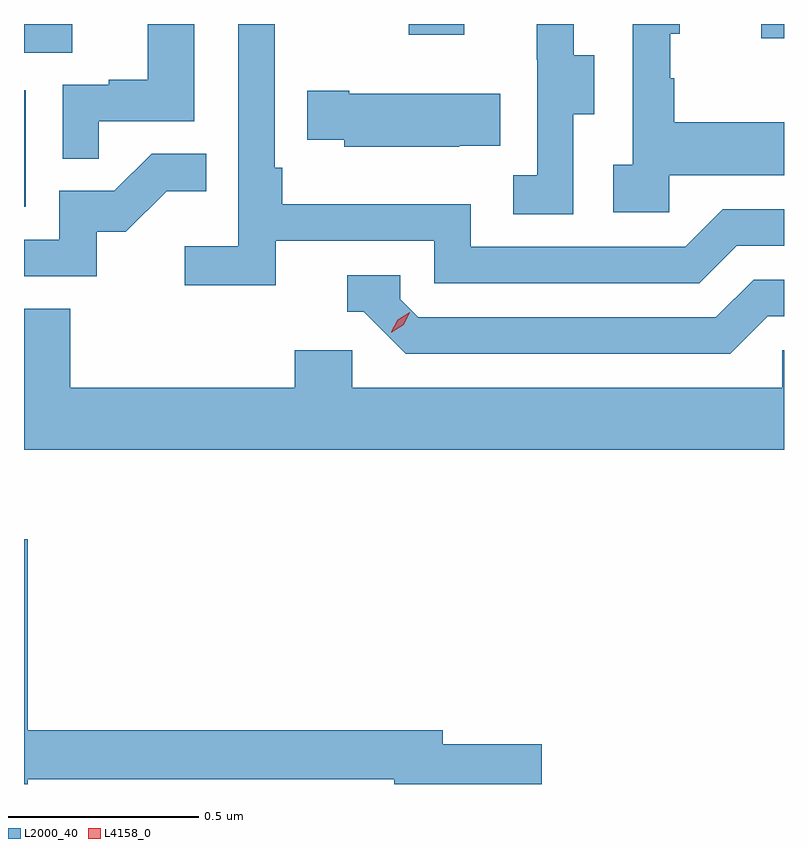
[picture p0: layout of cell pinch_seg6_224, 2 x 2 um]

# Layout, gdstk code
import gdstk
lib = gdstk.Library(unit=1e-6, precision=1e-09)
def R(c, l, rs):  # rectangles x0, y0, x1, y1
    for r in rs: c.add(gdstk.rectangle(r[:2], r[2:], *l))
def P(c, l, *ps):  # polygons
    for p in ps: c.add(gdstk.Polygon(p, *l))
L2000_40 = (2000, 40)
L4158_0 = (4158, 0)

pinch_seg6_224 = lib.new_cell('pinch_seg6_224')
R(pinch_seg6_224, L2000_40, [(1084.116,930.66,1084.12,930.967), (1084.116,931.066,1084.243,931.141), (1086.056,931.104,1086.116,931.141), (1085.128,931.113,1085.275,931.141)])
P(pinch_seg6_224, L2000_40, [(1085.814,930.743),(1086.116,930.743),(1086.116,930.883),(1085.827,930.883),(1085.827,930.998),(1085.817,930.998),(1085.817,931.116),(1085.842,931.116),(1085.842,931.141),(1085.718,931.141),(1085.718,930.77),(1085.667,930.77),(1085.667,930.645),(1085.814,930.645)],
  [(1085.562,930.904),(1085.617,930.904),(1085.617,931.059),(1085.563,931.059),(1085.563,931.141),(1085.465,931.141),(1085.465,931.047),(1085.466,931.047),(1085.466,930.743),(1085.403,930.743),(1085.403,930.64),(1085.562,930.64)],
  [(1084.313,930.885),(1084.564,930.885),(1084.564,931.141),(1084.442,931.141),(1084.442,930.994),(1084.339,930.994),(1084.339,930.981),(1084.218,930.981),(1084.218,930.787),(1084.313,930.787)],
  [(1084.778,930.57),(1085.196,930.57),(1085.196,930.459),(1085.893,930.459),(1085.992,930.558),(1086.116,930.558),(1086.116,930.654),(1085.955,930.654),(1085.856,930.555),(1085.292,930.555),(1085.292,930.667),(1084.796,930.667),(1084.796,930.763),(1084.776,930.763),(1084.776,931.141),(1084.68,931.141),(1084.68,930.556),(1084.539,930.556),(1084.539,930.454),(1084.778,930.454)],
  [(1085.261,930.821),(1085.369,930.821),(1085.369,930.958),(1084.972,930.958),(1084.972,930.966),(1084.861,930.966),(1084.861,930.836),(1084.959,930.836),(1084.959,930.818),(1085.261,930.818)],
  [(1084.308,930.594),(1084.384,930.594),(1084.491,930.701),(1084.595,930.701),(1084.595,930.8),(1084.452,930.8),(1084.354,930.702),(1084.209,930.702),(1084.209,930.573),(1084.116,930.573),(1084.116,930.477),(1084.308,930.477)],
  [(1086.073,930.372),(1086.116,930.372),(1086.116,930.468),(1086.036,930.468),(1085.937,930.369),(1085.154,930.369),(1085.106,930.417),(1085.106,930.48),(1084.967,930.48),(1084.967,930.384),(1085.01,930.384),(1085.121,930.273),(1085.974,930.273)],
  [(1086.116,930.282),(1086.111,930.282),(1086.111,930.184),(1084.98,930.184),(1084.98,930.282),(1084.829,930.282),(1084.829,930.184),(1084.238,930.184),(1084.238,930.392),(1084.116,930.392),(1084.116,930.02),(1086.116,930.02)],
  [(1084.126,929.154),(1085.09,929.154),(1085.09,929.141),(1085.479,929.141),(1085.479,929.246),(1085.218,929.246),(1085.218,929.282),(1084.126,929.282),(1084.126,929.785),(1084.116,929.785),(1084.116,929.141),(1084.126,929.141)])
P(pinch_seg6_224, L4158_0, [(1085.083,930.33),(1085.083,930.331),(1085.1,930.363),(1085.131,930.382),(1085.131,930.382),(1085.131,930.382),(1085.115,930.349),(1085.084,930.33)])

lib.write_gds('pinch_seg6_224.gds')
